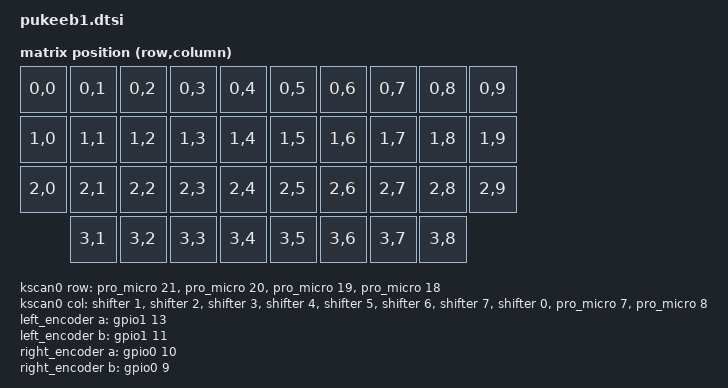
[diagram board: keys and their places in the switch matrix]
/*
 * Copyright (c) 2020 Pete Johanson
 *
 * SPDX-License-Identifier: MIT
 */

#include <dt-bindings/zmk/matrix_transform.h>

/ {
    chosen {
        zephyr,display = &oled;
        zmk,kscan = &kscan0;
        zmk,matrix-transform = &default_transform;
    };

    default_transform: keymap_transform_0 {
        compatible = "zmk,matrix-transform";
        columns = <10>;
        rows = <4>;
        map = <
RC(0,0) RC(0,1) RC(0,2) RC(0,3) RC(0,4)  RC(0,5) RC(0,6) RC(0,7) RC(0,8) RC(0,9)
RC(1,0) RC(1,1) RC(1,2) RC(1,3) RC(1,4)  RC(1,5) RC(1,6) RC(1,7) RC(1,8) RC(1,9)
RC(2,0) RC(2,1) RC(2,2) RC(2,3) RC(2,4)  RC(2,5) RC(2,6) RC(2,7) RC(2,8) RC(2,9)
        RC(3,1) RC(3,2) RC(3,3) RC(3,4)  RC(3,5) RC(3,6) RC(3,7) RC(3,8)
        >;
    };

    kscan0: kscan {
        compatible = "zmk,kscan-gpio-matrix";
        wakeup-source;

        diode-direction = "col2row";
        col-gpios
            = <&shifter 1 GPIO_ACTIVE_HIGH>
            , <&shifter 2 GPIO_ACTIVE_HIGH>
            , <&shifter 3 GPIO_ACTIVE_HIGH>
            , <&shifter 4 GPIO_ACTIVE_HIGH>
            , <&shifter 5 GPIO_ACTIVE_HIGH>
            , <&shifter 6 GPIO_ACTIVE_HIGH>
            , <&shifter 7 GPIO_ACTIVE_HIGH>
            , <&shifter 0 GPIO_ACTIVE_HIGH>
            , <&pro_micro 7 GPIO_ACTIVE_HIGH>
            , <&pro_micro 8 GPIO_ACTIVE_HIGH>
            ;
        row-gpios
            = <&pro_micro 21 (GPIO_ACTIVE_HIGH | GPIO_PULL_DOWN)>
            , <&pro_micro 20 (GPIO_ACTIVE_HIGH | GPIO_PULL_DOWN)>
            , <&pro_micro 19 (GPIO_ACTIVE_HIGH | GPIO_PULL_DOWN)>
            , <&pro_micro 18 (GPIO_ACTIVE_HIGH | GPIO_PULL_DOWN)>
            ;

    };

    // encoders
    left_encoder: encoder_left {
        status = "okay";
        compatible = "alps,ec11";
        a-gpios = <&gpio1 13 (GPIO_ACTIVE_HIGH | GPIO_PULL_UP)>;
        b-gpios = <&gpio1 11 (GPIO_ACTIVE_HIGH | GPIO_PULL_UP)>;
        steps = <18>;
    };
    right_encoder: encoder_right {
        status = "okay";
        compatible = "alps,ec11";
        a-gpios = <&gpio0 10 (GPIO_ACTIVE_HIGH | GPIO_PULL_UP)>;
        b-gpios = <&gpio0 9 (GPIO_ACTIVE_HIGH | GPIO_PULL_UP)>;
        steps = <18>;
    };
    sensors: sensors {
        status = "okay";
        compatible = "zmk,keymap-sensors";
        sensors = <&left_encoder &right_encoder>;
        triggers-per-rotation = <9>;
    };
};
